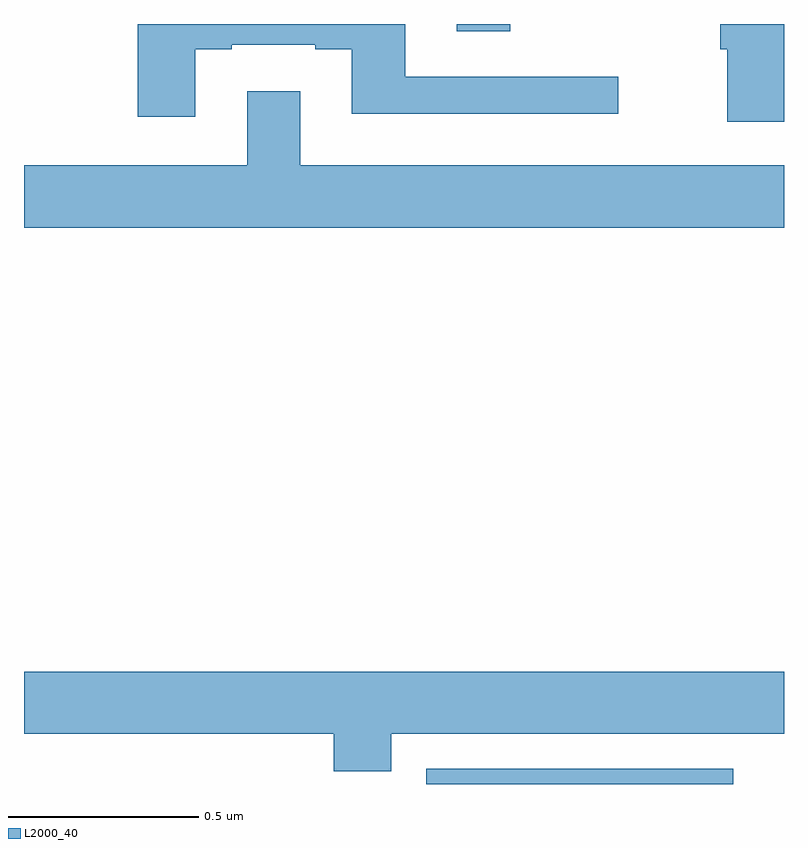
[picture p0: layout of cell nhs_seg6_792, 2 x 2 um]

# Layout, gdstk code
import gdstk
lib = gdstk.Library(unit=1e-6, precision=1e-09)
def R(c, l, rs):  # rectangles x0, y0, x1, y1
    for r in rs: c.add(gdstk.rectangle(r[:2], r[2:], *l))
def P(c, l, *ps):  # polygons
    for p in ps: c.add(gdstk.Polygon(p, *l))
L2000_40 = (2000, 40)

nhs_seg6_792 = lib.new_cell('nhs_seg6_792')
R(nhs_seg6_792, L2000_40, [(121.059,984.5,121.867,984.54), (121.139,986.481,121.279,986.5)])
P(nhs_seg6_792, L2000_40, [(120.451,986.433),(120.547,986.433),(120.547,986.445),(120.767,986.445),(120.767,986.433),(120.863,986.433),(120.863,986.264),(121.564,986.264),(121.564,986.361),(121.003,986.361),(121.003,986.5),(120.299,986.5),(120.299,986.256),(120.451,986.256)],
  [(122,986.5),(121.832,986.5),(121.832,986.433),(121.85,986.433),(121.85,986.243),(122,986.243)],
  [(122,986.128),(120.727,986.128),(120.727,986.323),(120.587,986.323),(120.587,986.128),(120,986.128),(120,985.964),(122,985.964)],
  [(120.967,984.632),(122,984.632),(122,984.796),(120,984.796),(120,984.632),(120.815,984.632),(120.815,984.533),(120.967,984.533)])

lib.write_gds('nhs_seg6_792.gds')
